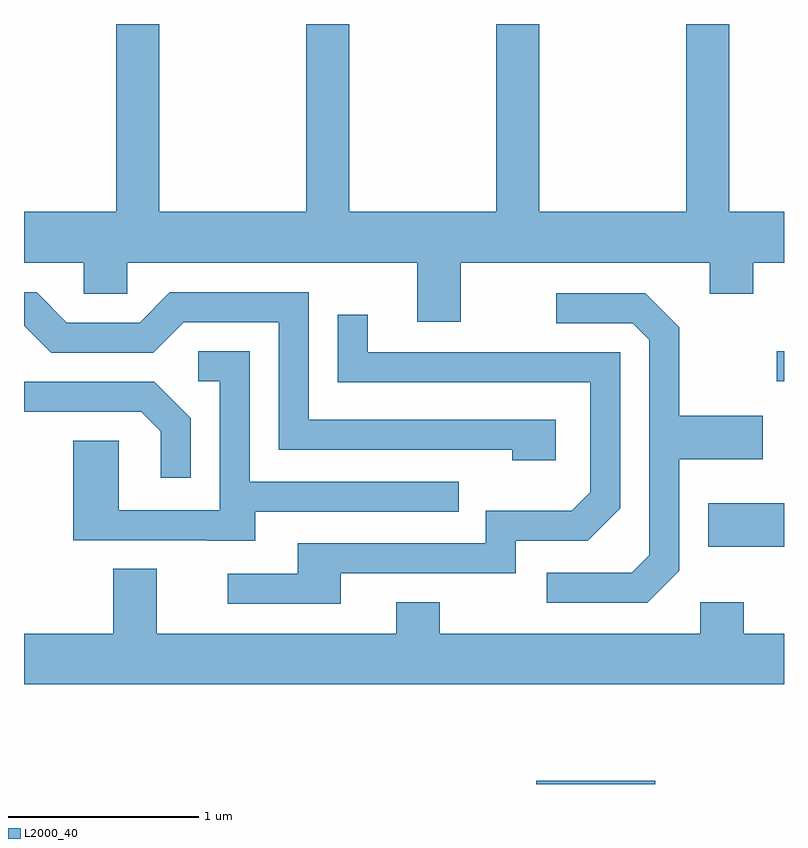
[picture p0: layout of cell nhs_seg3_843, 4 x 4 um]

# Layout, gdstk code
import gdstk
lib = gdstk.Library(unit=1e-6, precision=1e-09)
def R(c, l, rs):  # rectangles x0, y0, x1, y1
    for r in rs: c.add(gdstk.rectangle(r[:2], r[2:], *l))
def P(c, l, *ps):  # polygons
    for p in ps: c.add(gdstk.Polygon(p, *l))
L2000_40 = (2000, 40)

nhs_seg3_843 = lib.new_cell('nhs_seg3_843')
R(nhs_seg3_843, L2000_40, [(212.306,1169.892,212.934,1169.909), (213.211,1171.141,213.611,1171.369), (213.573,1172.011,213.611,1172.169)])
P(nhs_seg3_843, L2000_40, [(211.909,1172.636),(213.221,1172.636),(213.221,1172.471),(213.449,1172.471),(213.449,1172.636),(213.611,1172.636),(213.611,1172.904),(213.324,1172.904),(213.324,1173.892),(213.096,1173.892),(213.096,1172.904),(212.324,1172.904),(212.324,1173.892),(212.096,1173.892),(212.096,1172.904),(211.324,1172.904),(211.324,1173.892),(211.096,1173.892),(211.096,1172.904),(210.324,1172.904),(210.324,1173.892),(210.096,1173.892),(210.096,1172.904),(209.611,1172.904),(209.611,1172.636),(209.926,1172.636),(209.926,1172.471),(210.154,1172.471),(210.154,1172.636),(211.681,1172.636),(211.681,1172.326),(211.909,1172.326)],
  [(212.409,1171.809),(211.109,1171.809),(211.109,1172.479),(210.379,1172.479),(210.219,1172.319),(209.837,1172.319),(209.677,1172.479),(209.611,1172.479),(209.611,1172.304),(209.754,1172.161),(210.292,1172.161),(210.452,1172.321),(210.951,1172.321),(210.951,1171.651),(212.181,1171.651),(212.181,1171.596),(212.409,1171.596)],
  [(213.059,1171.014),(213.059,1171.601),(213.499,1171.601),(213.499,1171.829),(213.059,1171.829),(213.059,1172.297),(212.882,1172.474),(212.413,1172.474),(212.413,1172.316),(212.814,1172.316),(212.901,1172.229),(212.901,1171.097),(212.809,1171.004),(212.363,1171.004),(212.363,1170.846),(212.892,1170.846)],
  [(211.279,1171.001),(212.199,1171.001),(212.199,1171.171),(212.577,1171.171),(212.749,1171.344),(212.749,1172.164),(211.419,1172.164),(211.419,1172.363),(211.261,1172.363),(211.261,1172.006),(212.591,1172.006),(212.591,1171.427),(212.494,1171.329),(212.041,1171.329),(212.041,1171.159),(211.051,1171.159),(211.051,1170.999),(210.683,1170.999),(210.683,1170.841),(211.279,1170.841)],
  [(210.829,1171.326),(211.898,1171.326),(211.898,1171.484),(210.799,1171.484),(210.799,1172.169),(210.528,1172.169),(210.528,1172.011),(210.641,1172.011),(210.641,1171.334),(210.109,1171.334),(210.109,1171.699),(209.871,1171.699),(209.871,1171.176),(210.575,1171.176),(210.575,1171.171),(210.829,1171.171)],
  [(210.489,1171.817),(210.297,1172.009),(209.611,1172.009),(209.611,1171.851),(210.229,1171.851),(210.331,1171.749),(210.331,1171.503),(210.489,1171.503)],
  [(213.611,1170.684),(213.399,1170.684),(213.399,1170.849),(213.171,1170.849),(213.171,1170.684),(211.799,1170.684),(211.799,1170.849),(211.571,1170.849),(211.571,1170.684),(210.309,1170.684),(210.309,1171.024),(210.081,1171.024),(210.081,1170.684),(209.611,1170.684),(209.611,1170.416),(213.611,1170.416)])

lib.write_gds('nhs_seg3_843.gds')
